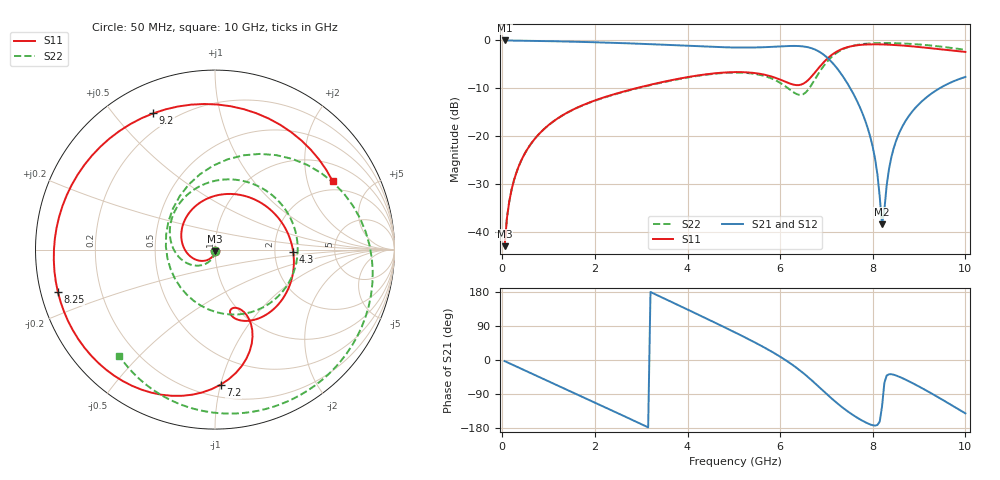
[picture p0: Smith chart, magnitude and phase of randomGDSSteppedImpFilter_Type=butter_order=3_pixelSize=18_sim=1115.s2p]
! freq	dB(S11)	phase(S11)	dB(S12)	phase(S12)
!  dB(S21)	phase(S21)	dB(S22)	phase(S22)
!S-par simulation data
#  GHz  S  DB  R 50
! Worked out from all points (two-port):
!   200 points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, 50 MHz to 10 GHz, reference 50 ohm
!   highest |S21| = 0.00 dB at 50 MHz (marker M1); lowest = -38.5 dB at 8.2 GHz (marker M2)
!   |S21| within 3 dB of the highest: start of sweep to 6.942 GHz
!   lowest |S11| = -43.0 dB at 50 MHz (marker M3), VSWR 1.01, Z = 50 - j0.705 ohm
!   |S11| at or under -10 dB: start of sweep to 2.888 GHz
!   |S22| runs from -43.0 to -0.5 dB; largest |S21 - S12| = 0
!   S11 on the Smith chart (normalised r, x): 50 MHz: 1.00, -0.01; 4.3 GHz: 2.54, -0.07; 7.2 GHz: 0.29, -1.00; 8.25 GHz: 0.05, -0.13; 9.2 GHz: 0.13, +0.64; 10 GHz: 1.60, +2.88
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0.05  -43.03 -91.6  -0.00 -2.9  -0.00 -2.9  -43.02 -90.5
0.2  -31.24 -103.1  -0.02 -11.4  -0.02 -11.4  -31.23 -98.9
0.5  -23.42 -123.9  -0.06 -28.2  -0.06 -28.2  -23.41 -113.4
1.15  -16.60 -167.8  -0.17 -64.7  -0.17 -64.7  -16.62 -143.4
1.75  -13.49 152.0  -0.32 -98.4  -0.32 -98.4  -13.53 -170.8
2.65  -10.60 93.2  -0.58 -149.2  -0.58 -149.2  -10.68 146.4
3.4  -8.82 47.7  -0.86 167.9  -0.86 167.9  -8.91 106.4
4.3  -7.22 -1.5  -1.26 115.7  -1.26 115.7  -7.30 52.2
5.05  -6.62 -38.4  -1.48 71.3  -1.48 71.3  -6.73 1.9
6  -8.19 -75.0  -1.25 8.8  -1.25 8.8  -8.87 -82.6
6.7  -7.30 -63.9  -1.70 -55.6  -1.70 -55.6  -8.95 123.4
7.2  -2.46 -87.6  -5.49 -110.8  -5.49 -110.8  -2.74 35.8
7.5  -1.29 -110.3  -9.75 -139.2  -9.75 -139.2  -1.30 1.7
7.9  -0.83 -139.6  -18.62 -167.8  -18.62 -167.8  -0.65 -31.4
8.1  -0.82 -154.0  -28.00 -171.4  -28.00 -171.4  -0.55 -44.7
8.2  -0.84 -161.3  -38.46 -122.6  -38.46 -122.6  -0.54 -50.8
8.25  -0.85 -165.0  -35.44 -60.5  -35.44 -60.5  -0.54 -53.7
8.35  -0.89 -172.5  -26.91 -37.7  -26.91 -37.7  -0.54 -59.3
8.65  -1.07 164.0  -17.80 -48.5  -17.80 -48.5  -0.63 -74.8
9.2  -1.58 114.4  -11.59 -83.5  -11.59 -83.5  -1.01 -99.8
9.6  -2.01 73.1  -9.18 -111.8  -9.18 -111.8  -1.44 -116.2
10  -2.40 30.3  -7.62 -140.8  -7.62 -140.8  -1.98 -132.2
